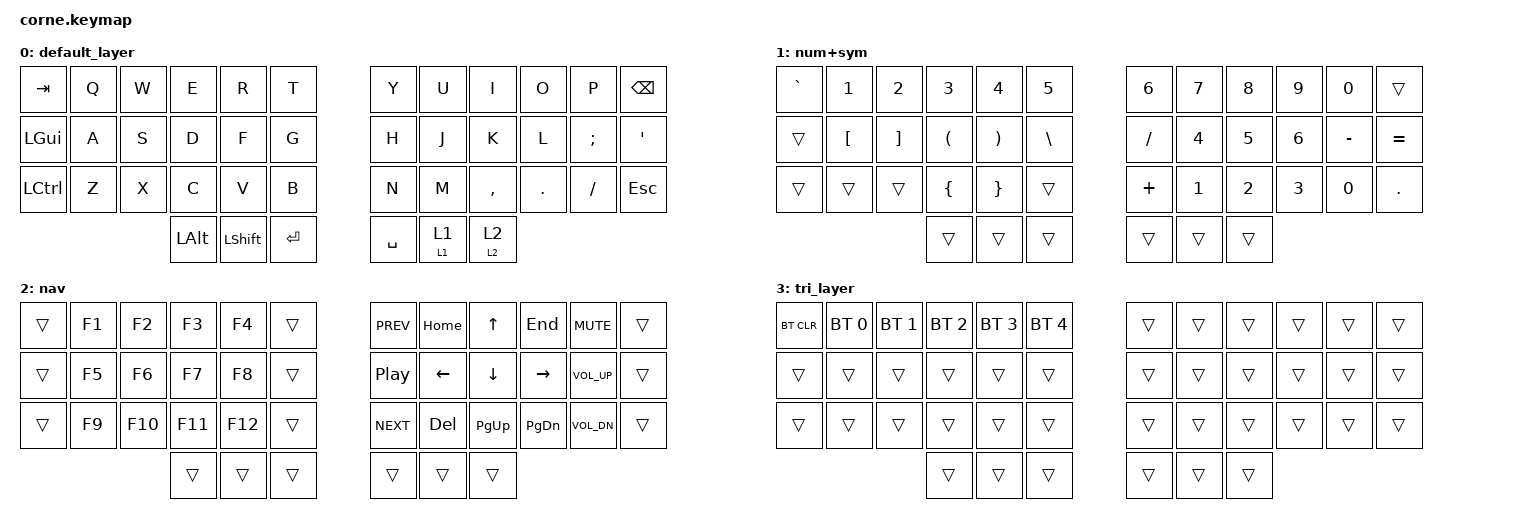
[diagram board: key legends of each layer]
/*
 * Copyright (c) 2020 The ZMK Contributors
 *
 * SPDX-License-Identifier: MIT
 */

#include <behaviors.dtsi>
#include <dt-bindings/zmk/bt.h>
#include <dt-bindings/zmk/keys.h>

#define LOWER   1
#define RAISE   2

#define MO_TOG(layer) &mo_tog layer layer   // Macro to apply momentary-layer-on-hold/toggle-layer-on-tap to a specific layer

/ {
    behaviors {
        mo_tog: behavior_mo_tog {
            compatible = "zmk,behavior-hold-tap";
            label = "mo_tog";
            #binding-cells = <2>;
            flavor = "hold-preferred";
            tapping-term-ms = <200>;
            bindings = <&mo>, <&tog>;
        };
    };

    keymap {
        compatible = "zmk,keymap";

        default_layer {
            // -----------------------------------------------------------------------------------------
            // |  TAB |  Q  |  W  |  E  |  R  |  T  |   |  Y  |  U   |  I  |  O  |  P  | BKSP |
            // | SHFT |  A  |  S  |  D  |  F  |  G  |   |  H  |  J   |  K  |  L  |  ;  |  '   |
            // | CTRL |  Z  |  X  |  C  |  V  |  B  |   |  N  |  M   |  ,  |  .  |  /  | ESC  |
            //                    | GUI | LWR | RET |   | SPC | RSE  | ALT |

            bindings = <
&kp TAB    &kp Q  &kp W  &kp E         &kp R      &kp T      &kp Y      &kp U        &kp I        &kp O    &kp P     &kp BSPC
&kp LGUI   &kp A  &kp S  &kp D         &kp F      &kp G      &kp H      &kp J        &kp K        &kp L    &kp SEMI  &kp SQT
&kp LCTRL  &kp Z  &kp X  &kp C         &kp V      &kp B      &kp N      &kp M        &kp COMMA    &kp DOT  &kp FSLH  &kp ESC
                         &kp LEFT_ALT  &kp LSHFT  &kp RET    &kp SPACE  &mo_tog 1 1  &mo_tog 2 2
            >;
        };

        num+sym {
            // -----------------------------------------------------------------------------------------
            // |  TAB |  1  |  2  |  3  |  4  |  5  |   |  6  |  7  |  8  |  9  |  0  | BKSP |
            // | BTCLR| BT1 | BT2 | BT3 | BT4 | BT5 |   | LFT | DWN |  UP | RGT |     |      |
            // | SHFT |     |     |     |     |     |   |     |     |     |     |     |      |
            //                    | GUI |     | SPC |   | ENT |     | ALT |

            bindings = <
&kp GRAVE  &kp NUMBER_1      &kp NUMBER_2       &kp NUMBER_3          &kp NUMBER_4           &kp N5           &kp NUMBER_6  &kp N7  &kp N8  &kp N9  &kp N0     &trans
&trans     &kp LEFT_BRACKET  &kp RIGHT_BRACKET  &kp LEFT_PARENTHESIS  &kp RIGHT_PARENTHESIS  &kp BACKSLASH    &kp SLASH     &kp N4  &kp N5  &kp N6  &kp MINUS  &kp EQUAL
&trans     &trans            &trans             &kp LEFT_BRACE        &kp RIGHT_BRACE        &trans           &kp PLUS      &kp N1  &kp N2  &kp N3  &kp N0     &kp PERIOD
                                                &trans                &trans                 &trans           &trans        &trans  &trans
            >;
        };

        nav {
            // -----------------------------------------------------------------------------------------
            // |  TAB |  !  |  @  |  #  |  $  |  %  |   |  ^  |  &  |  *  |  (  |  )  | BKSP |
            // | CTRL |     |     |     |     |     |   |  -  |  =  |  [  |  ]  |  \  |  `   |
            // | SHFT |     |     |     |     |     |   |  _  |  +  |  {  |  }  | "|" |  ~   |
            //                    | GUI |     | SPC |   | ENT |     | ALT |

            bindings = <
&trans  &kp F1  &kp F2   &kp F3   &kp F4   &trans    &kp C_PREV        &kp HOME  &kp UP       &kp END    &kp C_MUTE       &trans
&trans  &kp F5  &kp F6   &kp F7   &kp F8   &trans    &kp C_PLAY_PAUSE  &kp LEFT  &kp DOWN     &kp RIGHT  &kp C_VOLUME_UP  &trans
&trans  &kp F9  &kp F10  &kp F11  &kp F12  &trans    &kp C_NEXT        &kp DEL   &kp PAGE_UP  &kp PG_DN  &kp C_VOL_DN     &trans
                         &trans   &trans   &trans    &trans            &trans    &trans
            >;
        };

        tri_layer {
            bindings = <
&bt BT_CLR  &bt BT_SEL 0  &bt BT_SEL 1  &bt BT_SEL 2  &bt BT_SEL 3  &bt BT_SEL 4    &trans  &trans  &trans  &trans  &trans  &trans
&trans      &trans        &trans        &trans        &trans        &trans          &trans  &trans  &trans  &trans  &trans  &trans
&trans      &trans        &trans        &trans        &trans        &trans          &trans  &trans  &trans  &trans  &trans  &trans
                                        &trans        &trans        &trans          &trans  &trans  &trans
            >;
        };
    };

    conditional_layers {
        compatible = "zmk,conditional-layers";

        tri_layer {
            if-layers = <LOWER RAISE>;
            then-layer = <3>;
        };
    };
};
